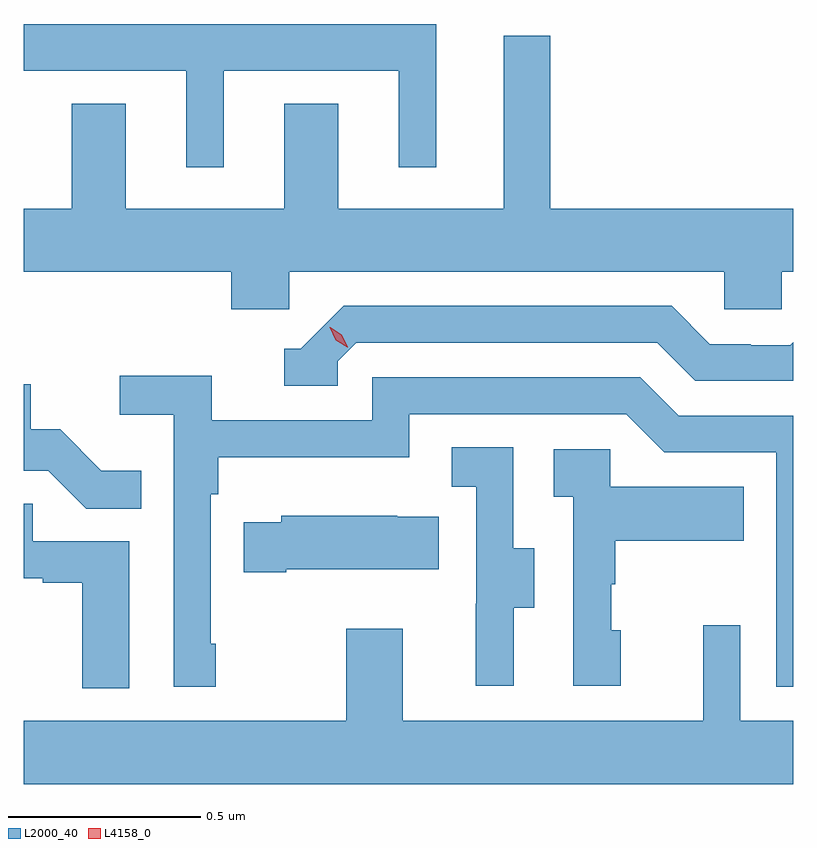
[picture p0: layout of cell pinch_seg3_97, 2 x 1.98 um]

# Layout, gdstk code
import gdstk
lib = gdstk.Library(unit=1e-6, precision=1e-09)
def P(c, l, *ps):  # polygons
    for p in ps: c.add(gdstk.Polygon(p, *l))
L2000_40 = (2000, 40)
L4158_0 = (4158, 0)

pinch_seg3_97 = lib.new_cell('pinch_seg3_97')
P(pinch_seg3_97, L2000_40, [(1073.932,722.75),(1074.386,722.75),(1074.386,722.499),(1074.484,722.499),(1074.484,722.872),(1073.412,722.872),(1073.412,722.75),(1073.834,722.75),(1073.834,722.499),(1073.932,722.499)],
  [(1074.102,722.228),(1075.233,722.228),(1075.233,722.13),(1075.383,722.13),(1075.383,722.228),(1075.412,722.228),(1075.412,722.392),(1074.781,722.392),(1074.781,722.842),(1074.659,722.842),(1074.659,722.392),(1074.229,722.392),(1074.229,722.665),(1074.089,722.665),(1074.089,722.392),(1073.677,722.392),(1073.677,722.665),(1073.537,722.665),(1073.537,722.392),(1073.412,722.392),(1073.412,722.228),(1073.951,722.228),(1073.951,722.13),(1074.102,722.13)],
  [(1074.228,721.995),(1074.276,722.043),(1075.059,722.043),(1075.158,721.944),(1075.412,721.944),(1075.412,722.044),(1075.405,722.037),(1075.302,722.037),(1075.302,722.04),(1075.195,722.04),(1075.096,722.139),(1074.243,722.139),(1074.132,722.028),(1074.089,722.028),(1074.089,721.932),(1074.228,721.932)],
  [(1073.911,721.261),(1073.898,721.261),(1073.898,721.649),(1073.918,721.649),(1073.918,721.745),(1074.414,721.745),(1074.414,721.857),(1074.978,721.857),(1075.077,721.758),(1075.368,721.758),(1075.368,721.149),(1075.412,721.149),(1075.412,721.854),(1075.114,721.854),(1075.015,721.953),(1074.318,721.953),(1074.318,721.842),(1073.9,721.842),(1073.9,721.958),(1073.661,721.958),(1073.661,721.856),(1073.802,721.856),(1073.802,721.149),(1073.911,721.149)],
  [(1073.717,721.711),(1073.613,721.711),(1073.506,721.818),(1073.43,721.818),(1073.43,721.935),(1073.412,721.935),(1073.412,721.71),(1073.476,721.71),(1073.574,721.612),(1073.717,721.612)],
  [(1074.685,721.354),(1074.739,721.354),(1074.739,721.509),(1074.684,721.509),(1074.684,721.772),(1074.525,721.772),(1074.525,721.669),(1074.588,721.669),(1074.588,721.365),(1074.587,721.365),(1074.587,721.152),(1074.685,721.152)],
  [(1074.964,721.296),(1074.939,721.296),(1074.939,721.415),(1074.949,721.415),(1074.949,721.529),(1075.283,721.529),(1075.283,721.669),(1074.936,721.669),(1074.936,721.767),(1074.789,721.767),(1074.789,721.643),(1074.84,721.643),(1074.84,721.152),(1074.964,721.152)],
  [(1073.686,721.527),(1073.435,721.527),(1073.435,721.625),(1073.412,721.625),(1073.412,721.431),(1073.461,721.431),(1073.461,721.419),(1073.564,721.419),(1073.564,721.145),(1073.686,721.145)],
  [(1074.094,721.454),(1074.491,721.454),(1074.491,721.591),(1074.383,721.591),(1074.383,721.594),(1074.081,721.594),(1074.081,721.576),(1073.983,721.576),(1073.983,721.447),(1074.094,721.447)],
  [(1074.25,721.3),(1074.25,721.06),(1073.412,721.06),(1073.412,720.896),(1075.412,720.896),(1075.412,721.06),(1075.275,721.06),(1075.275,721.309),(1075.178,721.309),(1075.178,721.06),(1074.397,721.06),(1074.397,721.3)])
P(pinch_seg3_97, L4158_0, [(1074.253,722.031),(1074.223,722.05),(1074.207,722.083),(1074.207,722.083),(1074.208,722.083),(1074.238,722.064),(1074.254,722.031),(1074.254,722.031)])

lib.write_gds('pinch_seg3_97.gds')
